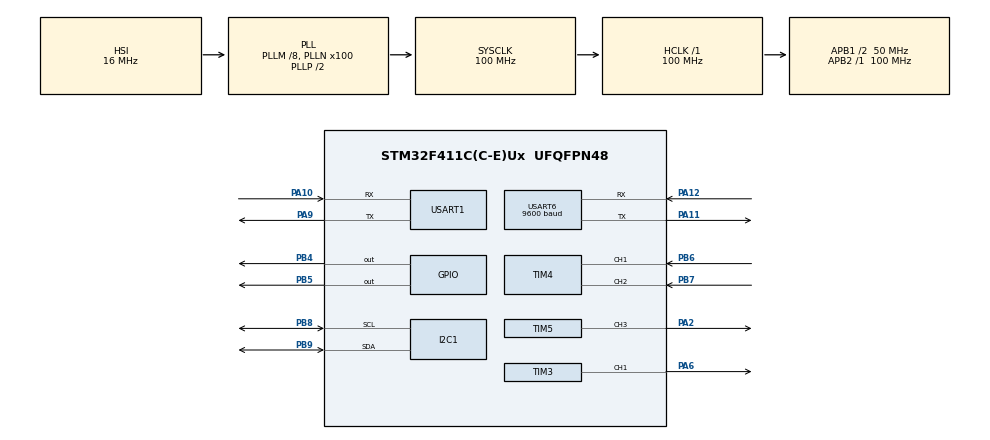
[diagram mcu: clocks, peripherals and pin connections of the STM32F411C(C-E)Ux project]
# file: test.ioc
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I2C1.I2C_Mode=I2C_Fast
Mcu.Family=STM32F4
Mcu.Name=STM32F411C(C-E)Ux
Mcu.Package=UFQFPN48
NVIC.PriorityGroup=NVIC_PRIORITYGROUP_4
NVIC.TIM1_UP_TIM10_IRQn=true\:0\:0\:false\:false\:true\:true\:true\:true
NVIC.TIM5_IRQn=true\:0\:0\:false\:false\:true\:true\:true\:true
NVIC.USART1_IRQn=true\:0\:0\:false\:false\:true\:true\:true\:true
PA10.Mode=Asynchronous
PA10.Signal=USART1_RX
PA11.Mode=Asynchronous
PA11.Signal=USART6_TX
PA12.Mode=Asynchronous
PA12.Signal=USART6_RX
PA13.Mode=Serial_Wire
PA13.Signal=SYS_JTMS-SWDIO
PA14.Mode=Serial_Wire
PA14.Signal=SYS_JTCK-SWCLK
PA2.Signal=S_TIM5_CH3
PA6.Signal=S_TIM3_CH1
PA9.Mode=Asynchronous
PA9.Signal=USART1_TX
PB4.Signal=GPIO_Output
PB5.Signal=GPIO_Output
PB6.Signal=S_TIM4_CH1
PB7.Signal=S_TIM4_CH2
PB8.Mode=I2C
PB8.Signal=I2C1_SCL
PB9.Mode=I2C
PB9.Signal=I2C1_SDA
PH0\ -\ OSC_IN.Mode=HSE-External-Oscillator
PH0\ -\ OSC_IN.Signal=RCC_OSC_IN
PH1\ -\ OSC_OUT.Mode=HSE-External-Oscillator
PH1\ -\ OSC_OUT.Signal=RCC_OSC_OUT
ProjectManager.HeapSize=0x200
ProjectManager.StackSize=0x400
ProjectManager.TargetToolchain=CMake
RCC.48MHZClocksFreq_Value=50000000
RCC.AHBFreq_Value=100000000
RCC.APB1CLKDivider=RCC_HCLK_DIV2
RCC.APB1Freq_Value=50000000
RCC.APB1TimFreq_Value=100000000
RCC.APB2Freq_Value=100000000
RCC.APB2TimFreq_Value=100000000
RCC.CortexFreq_Value=100000000
RCC.HCLKFreq_Value=100000000
RCC.HSE_VALUE=25000000
RCC.HSI_VALUE=16000000
RCC.LSE_VALUE=32768
RCC.PLLM=8
RCC.PLLN=100
RCC.SYSCLKFreq_VALUE=100000000
RCC.SYSCLKSource=RCC_SYSCLKSOURCE_PLLCLK
RCC.VCOOutputFreq_Value=200000000
SH.S_TIM3_CH1.0=TIM3_CH1,PWM Generation1 CH1
SH.S_TIM4_CH1.0=TIM4_CH1,Encoder_Interface
SH.S_TIM4_CH2.0=TIM4_CH2,Encoder_Interface
SH.S_TIM5_CH3.0=TIM5_CH3,PWM Generation3 CH3
TIM10.Period=999
TIM10.Prescaler=99
TIM3.Channel-PWM\ Generation1\ CH1=TIM_CHANNEL_1
TIM3.Period=10000-1
TIM4.EncoderMode=TIM_ENCODERMODE_TI12
TIM5.Channel-PWM\ Generation3\ CH3=TIM_CHANNEL_3
TIM5.Period=0
TIM5.Prescaler=99
USART1.VirtualMode=VM_ASYNC
USART6.BaudRate=9600
USART6.VirtualMode=VM_ASYNC
VP_TIM10_VS_ClockSourceINT.Mode=Enable_Timer
VP_TIM3_VS_ClockSourceINT.Mode=Internal
board=custom

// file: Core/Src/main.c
/* USER CODE BEGIN Header */
/**
  ******************************************************************************
  * @file           : main.c
  * @brief          : Main program body
  ******************************************************************************
  * @attention
  *
  * Copyright (c) 2025 STMicroelectronics.
  * All rights reserved.
  *
  * This software is licensed under terms that can be found in the LICENSE file
  * in the root directory of this software component.
  * If no LICENSE file comes with this software, it is provided AS-IS.
  *
  ******************************************************************************
  */
/* USER CODE END Header */
#include "main.h"
#include "i2c.h"
#include "tim.h"
#include "usart.h"
#include "gpio.h"

/* USER CODE BEGIN Includes */
#include <stdio.h>
#include "Hardware/IMU/MPU/MPU9250/mpu9250.h"
#include "Hardware/step_motor/step_Track.h"
#include "sys/Config/config.h"
#include "Conmunication/serial.h"
#include "Hardware/Screen/OLED_IIC/OLED.h"
#include "Hardware/IMU/wit/wit_elec.h"
#include "Hardware/use.h"

/* USER CODE END Includes */

void SystemClock_Config(void);

/* USER CODE BEGIN 0 */
int16_t angle[3] = {0};
uint8_t re_data = 0;
/* USER CODE END 0 */

int main(void)
{

  /* MCU Configuration--------------------------------------------------------*/

  /* Reset of all peripherals, Initializes the Flash interface and the Systick. */
  HAL_Init();

  /* Configure the system clock */
  SystemClock_Config();

  /* Initialize all configured peripherals */
  MX_GPIO_Init();
  MX_TIM10_Init();
  MX_TIM3_Init();
  MX_TIM4_Init();
  MX_USART1_UART_Init();
  MX_TIM5_Init();
  MX_I2C1_Init();
  MX_USART6_UART_Init();
  /* USER CODE BEGIN 2 */
  config_init();
  // 娣诲姞纭欢鎺ュ彛

  OLED_Init();
  OLED_ShowString(1,1,"5555");

  HAL_TIM_Base_Start_IT(&htim10);
  HAL_UART_Receive_IT(&huart1, config.rx1_buff, 1);
  HAL_UART_Receive_IT(&huart6, &re_data, 1);

    printf("Hello\r\n");

//use_vl53l0x();
  /* USER CODE END 2 */

  /* Infinite loop */
  /* USER CODE BEGIN WHILE */
  while (1)
  {
            printf("angle: %d, %d, %d\r\n", angle[0], angle[1], angle[2]);
      HAL_Delay(100);
    /* USER CODE END WHILE */

  }
}

void SystemClock_Config(void)
{
  RCC_OscInitTypeDef RCC_OscInitStruct = {0};
  RCC_ClkInitTypeDef RCC_ClkInitStruct = {0};

  /** Configure the main internal regulator output voltage
  */
  __HAL_RCC_PWR_CLK_ENABLE();
  __HAL_PWR_VOLTAGESCALING_CONFIG(PWR_REGULATOR_VOLTAGE_SCALE1);

  /** Initializes the RCC Oscillators according to the specified parameters
  * in the RCC_OscInitTypeDef structure.
  */
  RCC_OscInitStruct.OscillatorType = RCC_OSCILLATORTYPE_HSI;
  RCC_OscInitStruct.HSIState = RCC_HSI_ON;
  RCC_OscInitStruct.HSICalibrationValue = RCC_HSICALIBRATION_DEFAULT;
  RCC_OscInitStruct.PLL.PLLState = RCC_PLL_ON;
  RCC_OscInitStruct.PLL.PLLSource = RCC_PLLSOURCE_HSI;
  RCC_OscInitStruct.PLL.PLLM = 8;
  RCC_OscInitStruct.PLL.PLLN = 100;
  RCC_OscInitStruct.PLL.PLLP = RCC_PLLP_DIV2;
  RCC_OscInitStruct.PLL.PLLQ = 4;
  if (HAL_RCC_OscConfig(&RCC_OscInitStruct) != HAL_OK)
  {
    Error_Handler();
  }

  /** Initializes the CPU, AHB and APB buses clocks
  */
  RCC_ClkInitStruct.ClockType = RCC_CLOCKTYPE_HCLK|RCC_CLOCKTYPE_SYSCLK
                              |RCC_CLOCKTYPE_PCLK1|RCC_CLOCKTYPE_PCLK2;
  RCC_ClkInitStruct.SYSCLKSource = RCC_SYSCLKSOURCE_PLLCLK;
  RCC_ClkInitStruct.AHBCLKDivider = RCC_SYSCLK_DIV1;
  RCC_ClkInitStruct.APB1CLKDivider = RCC_HCLK_DIV2;
  RCC_ClkInitStruct.APB2CLKDivider = RCC_HCLK_DIV1;

  if (HAL_RCC_ClockConfig(&RCC_ClkInitStruct, FLASH_LATENCY_3) != HAL_OK)
  {
    Error_Handler();
  }
}

/* USER CODE BEGIN 4 */

//中断回调函数
void HAL_TIM_PeriodElapsedCallback(TIM_HandleTypeDef* htim){
    if(htim->Instance==TIM10){                      //定时中断
        static uint8_t servo_t = 0;

        if(servo_t%10 == 0){
            servo_t = 0;

        }
        servo_t++;
    }
}

// 串口接收中断回调函数
void HAL_UART_RxCpltCallback(UART_HandleTypeDef*huart){
    if(huart->Instance==USART1){
        debug_serial(config.rx1_buff);
    }
    if(huart->Instance == USART6){
        getwitData(angle, re_data);
        HAL_UART_Receive_IT(&huart6, &re_data, 1);
    }

}

/* USER CODE END 4 */

void Error_Handler(void)
{
  __disable_irq();
  while (1)
  {
  }
}
